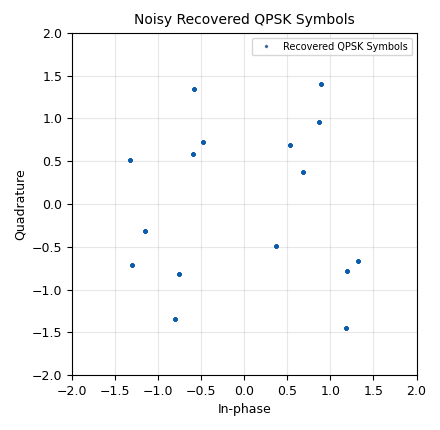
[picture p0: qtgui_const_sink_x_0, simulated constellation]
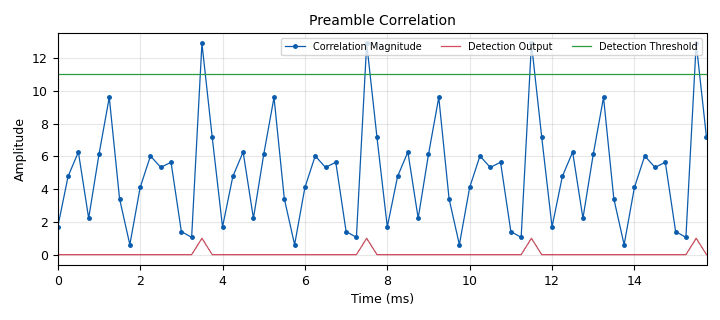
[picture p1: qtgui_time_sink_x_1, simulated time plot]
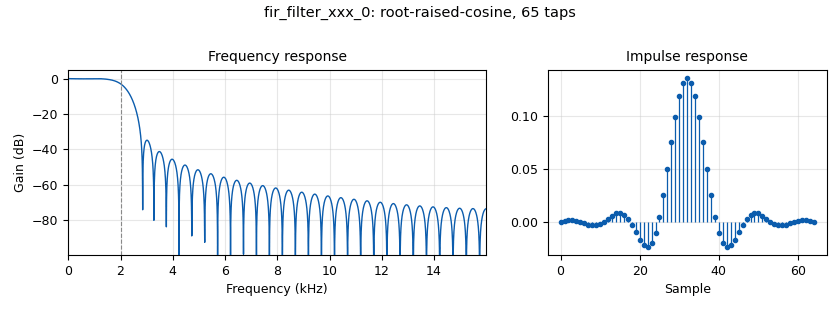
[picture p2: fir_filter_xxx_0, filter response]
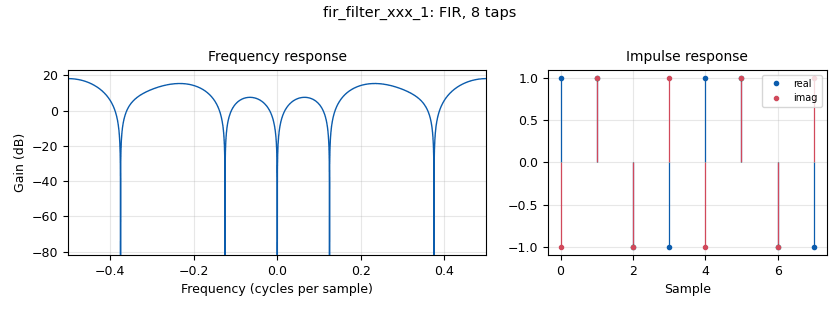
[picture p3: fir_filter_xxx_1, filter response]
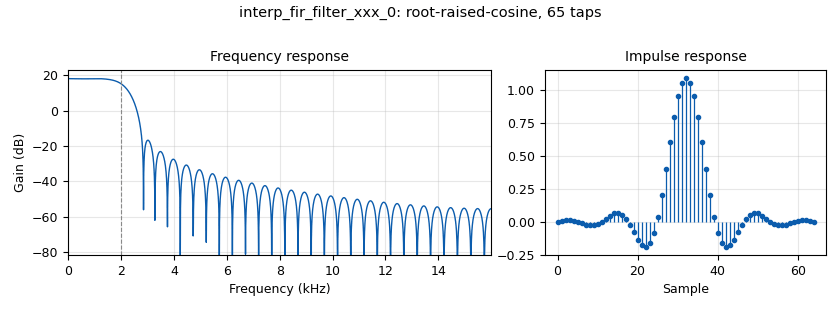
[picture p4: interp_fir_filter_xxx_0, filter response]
options:
  parameters:
    generate_options: qt_gui
    id: exp4
    output_language: python
    title: Preamble Detection Threshold
  states: {}

blocks:
- name: alpha
  id: variable
  parameters:
    value: '0.35'
  states: {}
- name: detection_threshold
  id: variable_qtgui_range
  parameters:
    label: Detection Threshold
    start: '0'
    step: '0.5'
    stop: '20'
    value: '11'
  states: {}
- name: noise_voltage
  id: variable_qtgui_range
  parameters:
    label: Noise Voltage
    start: '0'
    step: '0.05'
    stop: '1'
    value: '0'
  states: {}
- name: ntaps
  id: variable
  parameters:
    value: span * sps + 1
  states: {}
- name: samp_rate
  id: variable
  parameters:
    value: '32000'
  states: {}
- name: span
  id: variable
  parameters:
    value: '8'
  states: {}
- name: sps
  id: variable
  parameters:
    value: int(samp_rate / symbol_rate)
  states: {}
- name: symbol_rate
  id: variable
  parameters:
    value: '4000'
  states: {}
- name: analog_const_source_x_0
  id: analog_const_source_x
  parameters:
    const: detection_threshold
    type: float
  states: {}
- name: blocks_complex_to_mag_0
  id: blocks_complex_to_mag
  parameters: {}
  states: {}
- name: blocks_float_to_complex_0
  id: blocks_float_to_complex
  parameters: {}
  states: {}
- name: blocks_keep_one_in_n_0
  id: blocks_keep_one_in_n
  parameters:
    n: sps
    type: complex
  states: {}
- name: blocks_threshold_ff_0
  id: blocks_threshold_ff
  parameters:
    high: detection_threshold
    init: '0'
    low: detection_threshold-1
  states: {}
- name: blocks_throttle2_0
  id: blocks_throttle2
  parameters:
    samples_per_second: samp_rate
    type: complex
  states: {}
- name: blocks_vector_source_x_0
  id: blocks_vector_source_x
  parameters:
    repeat: 'True'
    type: byte
    vector: '[0, 0, 1, 1, 0, 0, 1, 1, 1, 1, 0, 1, 0, 1, 0, 0]'
  states: {}
- name: blocks_vector_source_x_0_0
  id: blocks_vector_source_x
  parameters:
    repeat: 'True'
    type: byte
    vector: '[0, 1, 0, 1, 0, 1, 0, 1, 0, 0, 1, 1, 0, 1, 1, 0]'
  states: {}
- name: channels_channel_model_0
  id: channels_channel_model
  parameters:
    epsilon: '1.0'
    freq_offset: '0.0'
    noise_voltage: noise_voltage
    seed: '0'
    taps: '1.0'
  states: {}
- name: digital_chunks_to_symbols_xx_0
  id: digital_chunks_to_symbols_xx
  parameters:
    dimension: '1'
    in_type: byte
    out_type: float
    symbol_table: '[-1,1]'
  states: {}
- name: digital_chunks_to_symbols_xx_0_0
  id: digital_chunks_to_symbols_xx
  parameters:
    dimension: '1'
    in_type: byte
    out_type: float
    symbol_table: '[-1,1]'
  states: {}
- name: fir_filter_xxx_0
  id: fir_filter_xxx
  parameters:
    decim: '1'
    taps: firdes.root_raised_cosine(1, samp_rate, symbol_rate, alpha, ntaps)
    type: ccf
  states: {}
- name: fir_filter_xxx_1
  id: fir_filter_xxx
  parameters:
    decim: '1'
    taps: '[1-1j, 1+1j, -1-1j, -1+1j, 1-1j, 1+1j, -1-1j, -1+1j]'
    type: ccc
  states: {}
- name: import_0
  id: import
  parameters:
    imports: import math
  states: {}
- name: interp_fir_filter_xxx_0
  id: interp_fir_filter_xxx
  parameters:
    interp: sps
    taps: firdes.root_raised_cosine(sps, samp_rate, symbol_rate, alpha, ntaps)
    type: ccf
  states: {}
- name: qtgui_const_sink_x_0
  id: qtgui_const_sink_x
  parameters:
    grid: 'True'
    label1: Recovered QPSK Symbols
    name: Noisy Recovered QPSK Symbols
    size: '1024'
    type: complex
  states: {}
- name: qtgui_time_sink_x_1
  id: qtgui_time_sink_x
  parameters:
    autoscale: 'True'
    color1: red
    color2: green
    color3: black
    grid: 'True'
    label1: Correlation Magnitude
    label2: Detection Output
    label3: Detection Threshold
    marker1: '0'
    name: Preamble Correlation
    nconnections: '3'
    size: '64'
    srate: symbol_rate
    style1: '2'
    style3: '2'
    type: float
    width2: '2'
    width3: '2'
  states: {}

connections:
- [analog_const_source_x_0, '0', qtgui_time_sink_x_1, '2']
- [blocks_complex_to_mag_0, '0', blocks_threshold_ff_0, '0']
- [blocks_complex_to_mag_0, '0', qtgui_time_sink_x_1, '0']
- [blocks_float_to_complex_0, '0', interp_fir_filter_xxx_0, '0']
- [blocks_keep_one_in_n_0, '0', fir_filter_xxx_1, '0']
- [blocks_keep_one_in_n_0, '0', qtgui_const_sink_x_0, '0']
- [blocks_threshold_ff_0, '0', qtgui_time_sink_x_1, '1']
- [blocks_throttle2_0, '0', channels_channel_model_0, '0']
- [blocks_vector_source_x_0, '0', digital_chunks_to_symbols_xx_0, '0']
- [blocks_vector_source_x_0_0, '0', digital_chunks_to_symbols_xx_0_0, '0']
- [channels_channel_model_0, '0', fir_filter_xxx_0, '0']
- [digital_chunks_to_symbols_xx_0, '0', blocks_float_to_complex_0, '0']
- [digital_chunks_to_symbols_xx_0_0, '0', blocks_float_to_complex_0, '1']
- [fir_filter_xxx_0, '0', blocks_keep_one_in_n_0, '0']
- [fir_filter_xxx_1, '0', blocks_complex_to_mag_0, '0']
- [interp_fir_filter_xxx_0, '0', blocks_throttle2_0, '0']

metadata:
  file_format: 1
  grc_version: 3.10.12.0
